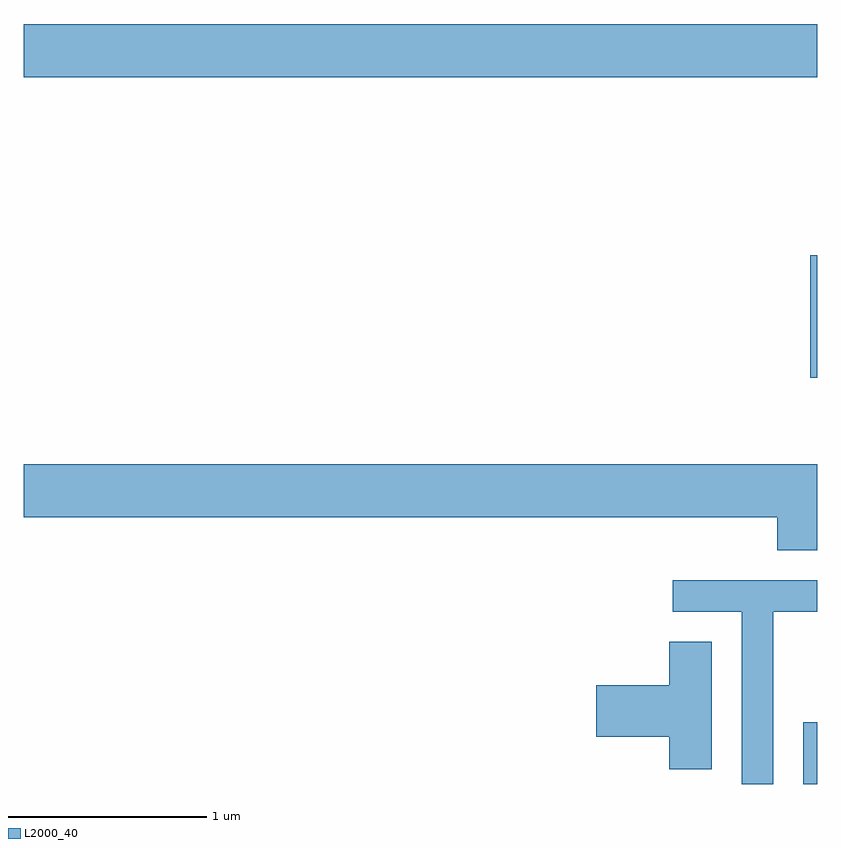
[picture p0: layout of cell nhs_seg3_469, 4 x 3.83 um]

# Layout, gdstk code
import gdstk
lib = gdstk.Library(unit=1e-6, precision=1e-09)
def R(c, l, rs):  # rectangles x0, y0, x1, y1
    for r in rs: c.add(gdstk.rectangle(r[:2], r[2:], *l))
def P(c, l, *ps):  # polygons
    for p in ps: c.add(gdstk.Polygon(p, *l))
L2000_40 = (2000, 40)

nhs_seg3_469 = lib.new_cell('nhs_seg3_469')
R(nhs_seg3_469, L2000_40, [(201.541,1237.892,201.611,1238.204), (201.576,1239.941,201.611,1240.559), (197.611,1241.456,201.611,1241.724)])
P(nhs_seg3_469, L2000_40, [(201.611,1239.504),(197.611,1239.504),(197.611,1239.236),(201.411,1239.236),(201.411,1239.071),(201.611,1239.071)],
  [(201.389,1238.761),(201.611,1238.761),(201.611,1238.919),(200.883,1238.919),(200.883,1238.761),(201.231,1238.761),(201.231,1237.892),(201.389,1237.892)],
  [(201.079,1238.609),(200.866,1238.609),(200.866,1238.389),(200.496,1238.389),(200.496,1238.131),(200.866,1238.131),(200.866,1237.966),(201.079,1237.966)])

lib.write_gds('nhs_seg3_469.gds')
